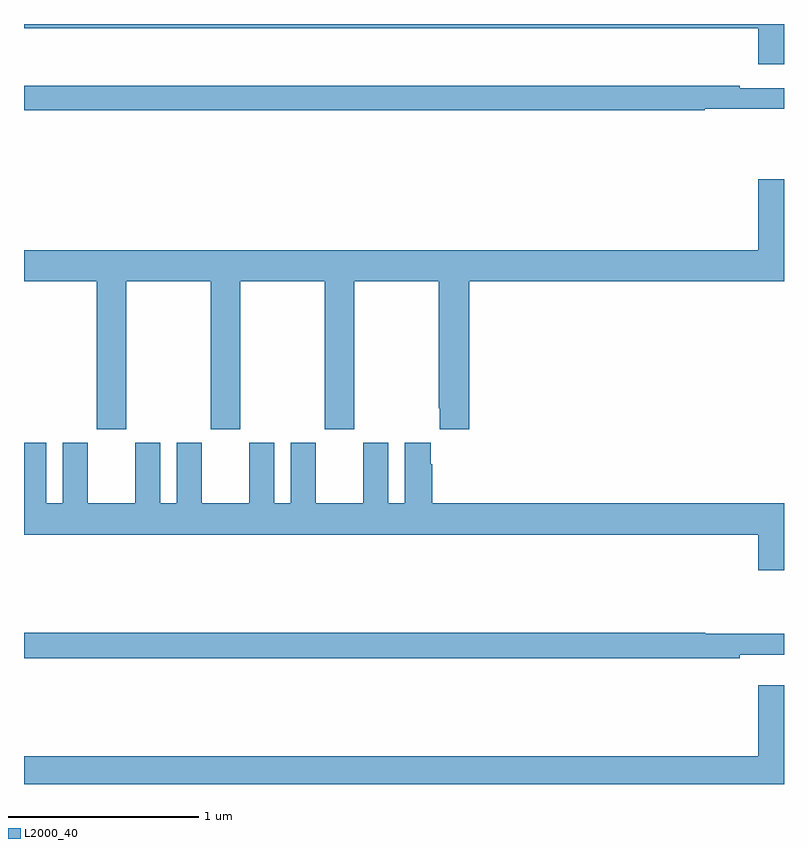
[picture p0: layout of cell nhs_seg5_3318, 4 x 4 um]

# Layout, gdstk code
import gdstk
lib = gdstk.Library(unit=1e-6, precision=1e-09)
def P(c, l, *ps):  # polygons
    for p in ps: c.add(gdstk.Polygon(p, *l))
L2000_40 = (2000, 40)

nhs_seg5_3318 = lib.new_cell('nhs_seg5_3318')
P(nhs_seg5_3318, L2000_40, [(309,840.799),(305,840.799),(305,840.776),(308.864,840.776),(308.864,840.588),(309,840.588)],
  [(308.582,840.354),(309,840.354),(309,840.462),(308.768,840.462),(308.768,840.475),(305,840.475),(305,840.346),(308.582,840.346)],
  [(305.538,839.444),(305.983,839.444),(305.983,838.665),(306.138,838.665),(306.138,839.444),(306.583,839.444),(306.583,838.665),(306.738,838.665),(306.738,839.444),(307.183,839.444),(307.183,838.777),(307.187,838.777),(307.187,838.665),(307.343,838.665),(307.343,839.444),(309,839.444),(309,839.983),(308.864,839.983),(308.864,839.608),(305,839.608),(305,839.444),(305.383,839.444),(305.383,838.665),(305.538,838.665)],
  [(309,838.276),(307.148,838.276),(307.148,838.481),(307.141,838.481),(307.141,838.594),(307.004,838.594),(307.004,838.276),(306.916,838.276),(306.916,838.594),(306.785,838.594),(306.785,838.276),(306.535,838.276),(306.535,838.594),(306.404,838.594),(306.404,838.276),(306.316,838.276),(306.316,838.594),(306.185,838.594),(306.185,838.276),(305.935,838.276),(305.935,838.594),(305.804,838.594),(305.804,838.276),(305.716,838.276),(305.716,838.594),(305.585,838.594),(305.585,838.276),(305.335,838.276),(305.335,838.594),(305.204,838.594),(305.204,838.276),(305.116,838.276),(305.116,838.594),(305,838.594),(305,838.112),(308.864,838.112),(308.864,837.924),(309,837.924)],
  [(308.768,837.479),(309,837.479),(309,837.589),(308.585,837.589),(308.585,837.596),(305,837.596),(305,837.46),(308.768,837.46)],
  [(309,837.319),(308.864,837.319),(308.864,836.944),(305,836.944),(305,836.799),(309,836.799)])

lib.write_gds('nhs_seg5_3318.gds')
